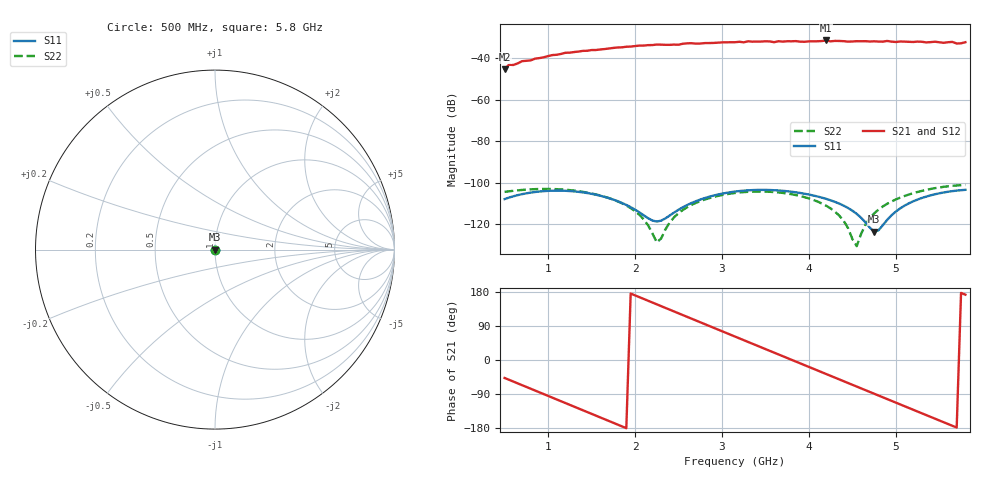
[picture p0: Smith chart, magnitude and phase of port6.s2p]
# GHZ S RI R 50
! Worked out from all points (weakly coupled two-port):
!   107 points, 500 MHz to 5.8 GHz, reference 50 ohm
!   highest |S21| = -31.65 dB at 4.2 GHz (marker M1); lowest = -45.4 dB at 500 MHz (marker M2)
!   lowest |S11| = -123.4 dB at 4.75 GHz (marker M3), VSWR 1.00, Z = 50 + j5.57e-05 ohm
!   |S11| at or under -10 dB: start of sweep to end of sweep
!   |S22| runs from -130.4 to -101.0 dB; largest |S21 - S12| = 4.2e-16
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0.5  1.12e-06 3.91e-06  0.00363 -0.00395  0.00363 -0.00395  4.06e-06 4.5e-06
0.55  1.63e-06 4.1e-06  0.0042 -0.0054  0.0042 -0.0054  4.3e-06 4.53e-06
0.6  2.18e-06 4.21e-06  0.00369 -0.00565  0.00369 -0.00565  4.57e-06 4.52e-06
0.7  3.32e-06 4.17e-06  0.00334 -0.00761  0.00334 -0.00761  5.12e-06 4.38e-06
0.8  4.43e-06 3.77e-06  0.00213 -0.00843  0.00213 -0.00843  5.67e-06 4.06e-06
0.85  4.93e-06 3.44e-06  0.00157 -0.00943  0.00157 -0.00943  5.92e-06 3.83e-06
1.2  6.41e-06 -4.28e-07  -0.00531 -0.0121  -0.00531 -0.0121  6.69e-06 1.34e-06
1.4  5.25e-06 -2.67e-06  -0.00994 -0.0108  -0.00994 -0.0108  6.07e-06 -2.38e-07
2.05  -1.22e-06 -1.52e-06  -0.0191 0.0048  -0.0191 0.0048  1.04e-06 -1.36e-06
2.3  -7.8e-07 9.56e-07  -0.0164 0.0127  -0.0164 0.0127  -4.58e-07 3.86e-08
3.15  5.08e-06 -3.48e-06  0.0112 0.0209  0.0112 0.0209  1.93e-06 5.36e-06
3.3  4.02e-06 -5.23e-06  0.0168 0.0185  0.0168 0.0185  3.15e-06 5.19e-06
4.05  -4.06e-06 -2.85e-06  0.0229 -0.00972  0.0229 -0.00972  3.88e-06 2.48e-07
4.2  -3.97e-06 -1.04e-06  0.0209 -0.0158  0.0209 -0.0158  2.8e-06 -2.64e-07
4.45  -2.29e-06 9.72e-07  0.012 -0.0214  0.012 -0.0214  8.12e-07 -1.11e-07
4.75  3.79e-07 5.57e-07  0.00046 -0.025  0.00046 -0.025  -9.97e-07 1.54e-06
4.95  1.18e-06 -1.16e-06  -0.00748 -0.0233  -0.00748 -0.0233  -1.45e-06 3.25e-06
5.45  -2.37e-06 -4.75e-06  -0.0221 -0.0104  -0.0221 -0.0104  1.17e-06 7.34e-06
5.55  -3.6e-06 -4.62e-06  -0.0221 -0.00626  -0.0221 -0.00626  2.3e-06 7.67e-06
5.65  -4.76e-06 -4.14e-06  -0.024 -0.00269  -0.024 -0.00269  3.52e-06 7.69e-06
5.7  -5.28e-06 -3.78e-06  -0.0221 -0.000662  -0.0221 -0.000662  4.13e-06 7.58e-06
5.8  -6.15e-06 -2.85e-06  -0.0236 0.00317  -0.0236 0.00317  5.32e-06 7.11e-06
